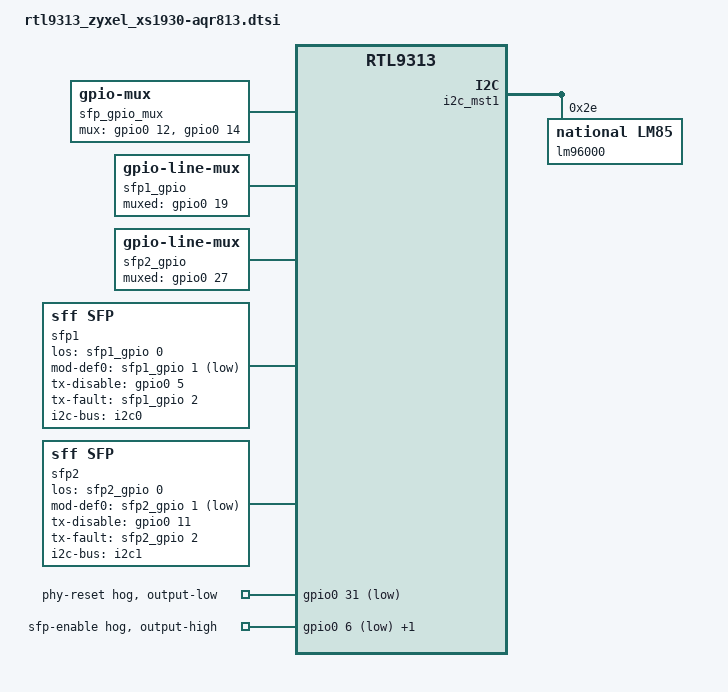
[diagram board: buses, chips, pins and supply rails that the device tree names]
// SPDX-License-Identifier: GPL-2.0-or-later
/dts-v1/;

#include "rtl9313_zyxel_xs1930.dtsi"

#include <dt-bindings/input/input.h>
#include <dt-bindings/gpio/gpio.h>
#include <dt-bindings/leds/common.h>
#include <dt-bindings/mux/mux.h>
#include <dt-bindings/phy/phy.h>

/ {
	sfp_gpio_mux: gpio-mux {
		compatible = "gpio-mux";
		mux-gpios = <&gpio0 12 GPIO_ACTIVE_HIGH>,
			    <&gpio0 14 GPIO_ACTIVE_HIGH>;
		#mux-control-cells = <0>;
		idle-state = <MUX_IDLE_AS_IS>;
	};

	sfp1_gpio: sfp-gpio-1 {
		compatible = "gpio-line-mux";
		gpio-controller;
		#gpio-cells = <2>;

		mux-controls = <&sfp_gpio_mux>;
		muxed-gpio = <&gpio0 19 GPIO_ACTIVE_HIGH>;

		gpio-line-names = "SFP1_LOS", "SFP1_MOD_ABS", "SFP1_TX_FAULT";
		gpio-line-mux-states = <0>, <1>, <3>;
	};

	sfp2_gpio: sfp-gpio-2 {
		compatible = "gpio-line-mux";
		gpio-controller;
		#gpio-cells = <2>;

		mux-controls = <&sfp_gpio_mux>;
		muxed-gpio = <&gpio0 27 GPIO_ACTIVE_HIGH>;

		gpio-line-names = "SFP2_LOS", "SFP2_MOD_ABS", "SFP2_TX_FAULT";
		gpio-line-mux-states = <0>, <1>, <3>;
	};

	sfp1: sfp-p1 {
		compatible = "sff,sfp";
		i2c-bus = <&i2c0>;
		los-gpio = <&sfp1_gpio 0 GPIO_ACTIVE_HIGH>;
		mod-def0-gpio = <&sfp1_gpio 1 GPIO_ACTIVE_LOW>;
		tx-disable-gpio = <&gpio0 5 GPIO_ACTIVE_HIGH>;
		tx-fault-gpio = <&sfp1_gpio 2 GPIO_ACTIVE_HIGH>;
	};

	sfp2: sfp-p2 {
		compatible = "sff,sfp";
		i2c-bus = <&i2c1>;
		los-gpio = <&sfp2_gpio 0 GPIO_ACTIVE_HIGH>;
		mod-def0-gpio = <&sfp2_gpio 1 GPIO_ACTIVE_LOW>;
		tx-disable-gpio = <&gpio0 11 GPIO_ACTIVE_HIGH>;
		tx-fault-gpio = <&sfp2_gpio 2 GPIO_ACTIVE_HIGH>;
	};
};

&gpio0 {
	pinctrl-names = "default";
	pinctrl-0 = <&pinmux_disable_jtag>;

	/*
	 * GPIO 31 is the global reset pin shared by all PHYs across all MDIO
	 * buses. It is intentionally not declared as reset-gpios on any bus:
	 * the MDIO driver / phylink only support a reset GPIO per bus, not on
	 * the parent controller. Attaching it to a single bus would still reset
	 * the PHYs on the other buses as a side effect, leaving their software
	 * state out of sync with the hardware and likely breaking them.
	 */
	phy_reset_hog {
		gpio-hog;
		gpios = <31 GPIO_ACTIVE_LOW>;
		output-low;
		line-name = "phy-reset";
	};

	sfp_enable_hog {
		gpio-hog;
		gpios = <6 GPIO_ACTIVE_LOW>,
			<7 GPIO_ACTIVE_LOW>;
		output-high;
		line-name = "sfp-enable";
	};
};

&i2c_mst1 {
	status = "okay";

	i2c0: i2c@0 {
		reg = <0>;
	};
	i2c1: i2c@1 {
		reg = <1>;
	};

	i2c2: i2c@2 {
		reg = <2>;

		lm96000: lm96000@2e {
			compatible = "national,lm85";
			reg = <0x2e>;
		};
	};
};

&mdio_bus0 {
	/* AQR813 */
	PHY_C45(0, 8)
	PHY_C45(8, 9)
	PHY_C45(16, 10)
	PHY_C45(24, 11)
	PHY_C45(32, 12)
	PHY_C45(40, 13)
	PHY_C45(48, 14)
	PHY_C45(50, 15)
};

&switch0 {
	ethernet-ports {
		#address-cells = <1>;
		#size-cells = <0>;

		/* Copper ports behind AQR813 */
		SWITCH_PORT_LED(0, 1, 2, 0, 0, usxgmii)
		SWITCH_PORT_LED(8, 2, 3, 0, 0, usxgmii)
		SWITCH_PORT_LED(16, 3, 4, 0, 0, usxgmii)
		SWITCH_PORT_LED(24, 4, 5, 0, 0, usxgmii)
		SWITCH_PORT_LED(32, 5, 6, 0, 0, usxgmii)
		SWITCH_PORT_LED(40, 6, 7, 0, 0, usxgmii)
		SWITCH_PORT_LED(48, 7, 8, 0, 0, usxgmii)
		SWITCH_PORT_LED(50, 8, 9, 0, 0, usxgmii)

		/* CPU port */
		port@56 {
			ethernet = <&ethernet0>;
			reg = <56>;
			phy-mode = "internal";
			fixed-link {
				speed = <1000>;
				full-duplex;
			};
		};
	};
};

&port0 { managed = "in-band-status"; };
&port8 { managed = "in-band-status"; };
&port16 { managed = "in-band-status"; };
&port24 { managed = "in-band-status"; };
&port32 { managed = "in-band-status"; };
&port40 { managed = "in-band-status"; };
&port48 { managed = "in-band-status"; };
&port50 { managed = "in-band-status"; };

&serdes6 {
	rx-polarity = <PHY_POL_INVERT>;
	tx-polarity = <PHY_POL_INVERT>;
};

&serdes7 {
	rx-polarity = <PHY_POL_INVERT>;
	tx-polarity = <PHY_POL_INVERT>;
};

&serdes8 {
	rx-polarity = <PHY_POL_INVERT>;
	tx-polarity = <PHY_POL_INVERT>;
};

&serdes9 {
	rx-polarity = <PHY_POL_INVERT>;
	tx-polarity = <PHY_POL_INVERT>;
};

&serdes12 { tx-polarity = <PHY_POL_INVERT>; };
&serdes13 { tx-polarity = <PHY_POL_INVERT>; };

